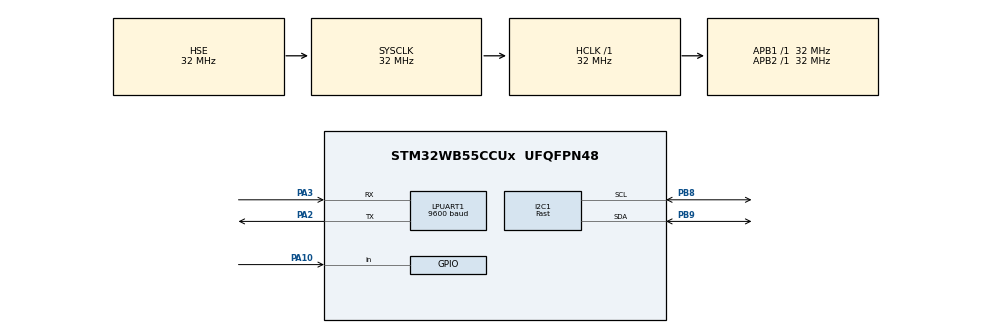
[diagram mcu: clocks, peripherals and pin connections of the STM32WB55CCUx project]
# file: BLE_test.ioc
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Dma.LPUART1_RX.0.Direction=DMA_PERIPH_TO_MEMORY
Dma.LPUART1_RX.0.EventEnable=DISABLE
Dma.LPUART1_RX.0.Instance=DMA1_Channel2
Dma.LPUART1_RX.0.MemDataAlignment=DMA_MDATAALIGN_BYTE
Dma.LPUART1_RX.0.MemInc=DMA_MINC_ENABLE
Dma.LPUART1_RX.0.Mode=DMA_CIRCULAR
Dma.LPUART1_RX.0.PeriphDataAlignment=DMA_PDATAALIGN_BYTE
Dma.LPUART1_RX.0.PeriphInc=DMA_PINC_DISABLE
Dma.LPUART1_RX.0.Polarity=HAL_DMAMUX_REQ_GEN_RISING
Dma.LPUART1_RX.0.Priority=DMA_PRIORITY_LOW
Dma.LPUART1_RX.0.RequestNumber=1
Dma.LPUART1_RX.0.SignalID=NONE
Dma.LPUART1_RX.0.SyncEnable=DISABLE
Dma.LPUART1_RX.0.SyncPolarity=HAL_DMAMUX_SYNC_NO_EVENT
Dma.LPUART1_RX.0.SyncRequestNumber=1
Dma.LPUART1_RX.0.SyncSignalID=NONE
Dma.Request0=LPUART1_RX
I2C1.I2C_Speed_Mode=I2C_Fast
I2C1.Timing=0x00300F38
LPUART1.BaudRate=9600
Mcu.Family=STM32WB
Mcu.Name=STM32WB55CCUx
Mcu.Package=UFQFPN48
NVIC.DMA1_Channel2_IRQn=true\:14\:0\:true\:false\:true\:false\:true\:true
NVIC.HSEM_IRQn=true\:0\:0\:false\:false\:true\:false\:true\:true
NVIC.IPCC_C1_RX_IRQn=true\:0\:0\:false\:false\:true\:true\:true\:true
NVIC.IPCC_C1_TX_IRQn=true\:0\:0\:false\:false\:true\:true\:true\:true
NVIC.PriorityGroup=NVIC_PRIORITYGROUP_4
NVIC.RTC_WKUP_IRQn=true\:0\:0\:false\:false\:true\:true\:true\:true
OSC_IN.Mode=HSE-External-Oscillator
OSC_IN.Signal=RCC_OSC_IN
OSC_OUT.Mode=HSE-External-Oscillator
OSC_OUT.Signal=RCC_OSC_OUT
PA10.Signal=GPIO_Input
PA13.Mode=Serial_Wire
PA13.Signal=SYS_JTMS-SWDIO
PA14.Mode=Serial_Wire
PA14.Signal=SYS_JTCK-SWCLK
PA2.Mode=Asynchronous
PA2.Signal=LPUART1_TX
PA3.Mode=Asynchronous
PA3.Signal=LPUART1_RX
PB8.Mode=I2C
PB8.Signal=I2C1_SCL
PB9.Mode=I2C
PB9.Signal=I2C1_SDA
PC14-OSC32_IN.Mode=LSE-External-Oscillator
PC14-OSC32_IN.Signal=RCC_OSC32_IN
PC15-OSC32_OUT.Mode=LSE-External-Oscillator
PC15-OSC32_OUT.Signal=RCC_OSC32_OUT
ProjectManager.HeapSize=0x200
ProjectManager.StackSize=0x400
ProjectManager.TargetToolchain=STM32CubeIDE
RCC.ADCFreq_Value=128000000
RCC.AHBFreq_Value=32000000
RCC.APB1Freq_Value=32000000
RCC.APB1TimFreq_Value=32000000
RCC.APB2Freq_Value=32000000
RCC.APB2TimFreq_Value=32000000
RCC.APB3Freq_Value=16000000
RCC.CortexFreq_Value=32000000
RCC.HCLKFreq_Value=32000000
RCC.HSE_VALUE=32000000
RCC.HSI48_VALUE=48000000
RCC.HSI_VALUE=16000000
RCC.MSIClockRange=RCC_MSIRANGE_10
RCC.RFWKPClockSelection=RCC_RFWKPCLKSOURCE_LSE
RCC.RTCClockSelection=RCC_RTCCLKSOURCE_LSE
RCC.SMPSCLockSelectionVirtual=RCC_SMPSCLKSOURCE_HSE
RCC.SMPSDivider=4
RCC.SYSCLKFreq_VALUE=32000000
RCC.SYSCLKSource=RCC_SYSCLKSOURCE_HSE
RCC.USBFreq_Value=128000000
RCC.VCOOutputFreq_Value=256000000
RF1.Mode=RF1_Activate
RF1.Signal=RF_RF1
STM32_WPAN.AD_SERVICE_CLASS_UUID_1=18 0D
STM32_WPAN.AD_SERVICE_CLASS_UUID_1_INV=[0D, 18]
STM32_WPAN.AD_TYPE_COMPLETE_LOCAL_NAME=STM32WB55
STM32_WPAN.AD_TYPE_COMPLETE_LOCAL_NAME_LENGTH=10
STM32_WPAN.CFG_BLE_MAX_TX_POWER=6
STM32_WPAN.CFG_BLE_MIN_TX_POWER=-40
STM32_WPAN.CFG_DEBUG_APP_TRACE=1
STM32_WPAN.CFG_DEBUG_BLE_TRACE=1
STM32_WPAN.CFG_DEBUG_TRACE_FULL=1
STM32_WPAN.CFG_DEBUG_TRACE_UART=hw_uart1
STM32_WPAN.CFG_GAP_DEVICE_NAME=Telemetry
STM32_WPAN.CFG_GAP_DEVICE_NAME_LENGTH=9
STM32_WPAN.CFG_HW_USART1_ENABLED=0
STM32_WPAN.CUSTOM_P2P_SERVER=Disabled
STM32_WPAN.CUSTOM_TEMPLATE=Enabled
STM32_WPAN.INCLUDE_AD_TYPE_16_BIT_SERV_UUID_CMPLT_LIST=1
STM32_WPAN.INCLUDE_AD_TYPE_COMPLETE_LOCAL_NAME=1
STM32_WPAN.INCLUDE_AD_TYPE_MANUFACTURER_SPECIFIC_DATA=1
STM32_WPAN.INCLUDE_AD_TYPE_TX_POWER_LEVEL=1
STM32_WPAN.NUMBER_OF_SERVICES=1
STM32_WPAN.PAIRING_PARAMETERS=ON
STM32_WPAN.SERVICE1_CHAR1_GATT_NOTIFY_READ_REQ_AND_WAIT_FOR_APPL_RESP=\ 
STM32_WPAN.SERVICE1_CHAR1_GATT_NOTIFY_WRITE_REQ_AND_WAIT_FOR_APPL_RESP=\ 
STM32_WPAN.SERVICE1_CHAR1_LENGTH_CHARACTERISTIC=CHAR_VALUE_LEN_CONSTANT
STM32_WPAN.SERVICE1_CHAR1_LONG_NAME=Pulse_Axel_GPS
STM32_WPAN.SERVICE1_CHAR1_PROP_NOTIFY=CHAR_PROP_NOTIFY
STM32_WPAN.SERVICE1_CHAR1_SHORT_NAME=PAG
STM32_WPAN.SERVICE1_CHAR1_UUID=FE 41
STM32_WPAN.SERVICE1_CHAR1_VALUE_LENGTH=86
STM32_WPAN.SERVICE1_LONG_NAME=Football_Player
STM32_WPAN.SERVICE1_SHORT_NAME=FP
STM32_WPAN.SERVICE1_UUID=FE 40
VP_HSEM_VS_HSEM.Mode=HSEM_Activate
VP_IPCC_VS_IPCC.Mode=IPCC_Activate
VP_RTC_VS_RTC_Activate.Mode=RTC_Enabled
VP_RTC_VS_RTC_WakeUp_intern.Mode=WakeUp
VP_SEQUENCER_VS_SEQUENCER.Mode=SEQUENCER_Enabled
VP_STM32_WPAN_VS_BLE_HOST.Mode=STM32_WPAN_Enabled
VP_TINY_LPM_VS_TINY_LPM.Mode=TINY_LPM_Enabled
board=custom

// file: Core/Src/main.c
/* USER CODE BEGIN Header */
/**
  ******************************************************************************
  * @file           : main.c
  * @brief          : Main program body
  ******************************************************************************
  * @attention
  *
  * Copyright (c) 2023 STMicroelectronics.
  * All rights reserved.
  *
  * This software is licensed under terms that can be found in the LICENSE file
  * in the root directory of this software component.
  * If no LICENSE file comes with this software, it is provided AS-IS.
  *
  ******************************************************************************
  */
/* USER CODE END Header */
#include "main.h"

I2C_HandleTypeDef hi2c1;

IPCC_HandleTypeDef hipcc;

UART_HandleTypeDef hlpuart1;
DMA_HandleTypeDef hdma_lpuart1_rx;

RTC_HandleTypeDef hrtc;

/* USER CODE BEGIN PV */

uint8_t Rxdata[750];
MPU9250_t mpu;

/* USER CODE END PV */

void SystemClock_Config(void);
void PeriphCommonClock_Config(void);
static void MX_GPIO_Init(void);
static void MX_DMA_Init(void);
static void MX_IPCC_Init(void);
static void MX_RTC_Init(void);
static void MX_I2C1_Init(void);
static void MX_LPUART1_UART_Init(void);
static void MX_RF_Init(void);
/* USER CODE BEGIN PFP */

void setMPUSettings(MPU9250_t * MPU0250);

/* USER CODE END PFP */

/* USER CODE BEGIN 0 */

void Max30102Setup()
{
  uint8_t uch_dummy;

  maxim_max30102_reset();
  maxim_max30102_read_reg(0x00, &uch_dummy);  // reads/clears the interrupt status register
  maxim_max30102_init();
}

/* USER CODE END 0 */

int main(void)
{

  /* MCU Configuration--------------------------------------------------------*/

  /* Reset of all peripherals, Initializes the Flash interface and the Systick. */
  HAL_Init();
  /* Config code for STM32_WPAN (HSE Tuning must be done before system clock configuration) */
  MX_APPE_Config();

  /* Configure the system clock */
  SystemClock_Config();

/* Configure the peripherals common clocks */
  PeriphCommonClock_Config();

  /* IPCC initialisation */
  MX_IPCC_Init();

  /* Initialize all configured peripherals */
  MX_GPIO_Init();
  MX_DMA_Init();
  MX_RTC_Init();
  MX_I2C1_Init();
  MX_LPUART1_UART_Init();
  MX_RF_Init();
  /* USER CODE BEGIN 2 */

  HAL_UART_Receive_DMA(&hlpuart1, (uint8_t*)Rxdata, 700);
  MPU9250SetDefault(&mpu);
  HAL_Delay(500);
  MPU9250_Init(&mpu);
  mpu.has_connected = 1;
  setMPUSettings(&mpu);
  HAL_Delay(100);
  Max30102Setup();

  /* USER CODE END 2 */

  /* Init code for STM32_WPAN */
  MX_APPE_Init();

  /* Infinite loop */
  while (1)
  {
    MX_APPE_Process();

  }
}

void SystemClock_Config(void)
{
  RCC_OscInitTypeDef RCC_OscInitStruct = {0};
  RCC_ClkInitTypeDef RCC_ClkInitStruct = {0};

  /** Configure LSE Drive Capability
  */
  HAL_PWR_EnableBkUpAccess();
  __HAL_RCC_LSEDRIVE_CONFIG(RCC_LSEDRIVE_MEDIUMHIGH);

  /** Configure the main internal regulator output voltage
  */
  __HAL_PWR_VOLTAGESCALING_CONFIG(PWR_REGULATOR_VOLTAGE_SCALE1);

  /** Initializes the RCC Oscillators according to the specified parameters
  * in the RCC_OscInitTypeDef structure.
  */
  RCC_OscInitStruct.OscillatorType = RCC_OSCILLATORTYPE_HSI|RCC_OSCILLATORTYPE_HSE
                              |RCC_OSCILLATORTYPE_LSE;
  RCC_OscInitStruct.HSEState = RCC_HSE_ON;
  RCC_OscInitStruct.LSEState = RCC_LSE_ON;
  RCC_OscInitStruct.HSIState = RCC_HSI_ON;
  RCC_OscInitStruct.HSICalibrationValue = RCC_HSICALIBRATION_DEFAULT;
  RCC_OscInitStruct.PLL.PLLState = RCC_PLL_NONE;
  if (HAL_RCC_OscConfig(&RCC_OscInitStruct) != HAL_OK)
  {
    Error_Handler();
  }

  /** Configure the SYSCLKSource, HCLK, PCLK1 and PCLK2 clocks dividers
  */
  RCC_ClkInitStruct.ClockType = RCC_CLOCKTYPE_HCLK4|RCC_CLOCKTYPE_HCLK2
                              |RCC_CLOCKTYPE_HCLK|RCC_CLOCKTYPE_SYSCLK
                              |RCC_CLOCKTYPE_PCLK1|RCC_CLOCKTYPE_PCLK2;
  RCC_ClkInitStruct.SYSCLKSource = RCC_SYSCLKSOURCE_HSE;
  RCC_ClkInitStruct.AHBCLKDivider = RCC_SYSCLK_DIV1;
  RCC_ClkInitStruct.APB1CLKDivider = RCC_HCLK_DIV1;
  RCC_ClkInitStruct.APB2CLKDivider = RCC_HCLK_DIV1;
  RCC_ClkInitStruct.AHBCLK2Divider = RCC_SYSCLK_DIV1;
  RCC_ClkInitStruct.AHBCLK4Divider = RCC_SYSCLK_DIV1;

  if (HAL_RCC_ClockConfig(&RCC_ClkInitStruct, FLASH_LATENCY_1) != HAL_OK)
  {
    Error_Handler();
  }
}

void PeriphCommonClock_Config(void)
{
  RCC_PeriphCLKInitTypeDef PeriphClkInitStruct = {0};

  /** Initializes the peripherals clock
  */
  PeriphClkInitStruct.PeriphClockSelection = RCC_PERIPHCLK_SMPS|RCC_PERIPHCLK_RFWAKEUP;
  PeriphClkInitStruct.RFWakeUpClockSelection = RCC_RFWKPCLKSOURCE_LSE;
  PeriphClkInitStruct.SmpsClockSelection = RCC_SMPSCLKSOURCE_HSE;
  PeriphClkInitStruct.SmpsDivSelection = RCC_SMPSCLKDIV_RANGE1;

  if (HAL_RCCEx_PeriphCLKConfig(&PeriphClkInitStruct) != HAL_OK)
  {
    Error_Handler();
  }
}

static void MX_I2C1_Init(void)
{

  hi2c1.Instance = I2C1;
  hi2c1.Init.Timing = 0x00300F38;
  hi2c1.Init.OwnAddress1 = 0;
  hi2c1.Init.AddressingMode = I2C_ADDRESSINGMODE_7BIT;
  hi2c1.Init.DualAddressMode = I2C_DUALADDRESS_DISABLE;
  hi2c1.Init.OwnAddress2 = 0;
  hi2c1.Init.OwnAddress2Masks = I2C_OA2_NOMASK;
  hi2c1.Init.GeneralCallMode = I2C_GENERALCALL_DISABLE;
  hi2c1.Init.NoStretchMode = I2C_NOSTRETCH_DISABLE;
  if (HAL_I2C_Init(&hi2c1) != HAL_OK)
  {
    Error_Handler();
  }

  /** Configure Analogue filter
  */
  if (HAL_I2CEx_ConfigAnalogFilter(&hi2c1, I2C_ANALOGFILTER_ENABLE) != HAL_OK)
  {
    Error_Handler();
  }

  /** Configure Digital filter
  */
  if (HAL_I2CEx_ConfigDigitalFilter(&hi2c1, 0) != HAL_OK)
  {
    Error_Handler();
  }

}

static void MX_IPCC_Init(void)
{

  hipcc.Instance = IPCC;
  if (HAL_IPCC_Init(&hipcc) != HAL_OK)
  {
    Error_Handler();
  }

}

static void MX_LPUART1_UART_Init(void)
{

  hlpuart1.Instance = LPUART1;
  hlpuart1.Init.BaudRate = 9600;
  hlpuart1.Init.WordLength = UART_WORDLENGTH_8B;
  hlpuart1.Init.StopBits = UART_STOPBITS_1;
  hlpuart1.Init.Parity = UART_PARITY_NONE;
  hlpuart1.Init.Mode = UART_MODE_TX_RX;
  hlpuart1.Init.HwFlowCtl = UART_HWCONTROL_NONE;
  hlpuart1.Init.OneBitSampling = UART_ONE_BIT_SAMPLE_DISABLE;
  hlpuart1.Init.ClockPrescaler = UART_PRESCALER_DIV1;
  hlpuart1.AdvancedInit.AdvFeatureInit = UART_ADVFEATURE_NO_INIT;
  hlpuart1.FifoMode = UART_FIFOMODE_DISABLE;
  if (HAL_UART_Init(&hlpuart1) != HAL_OK)
  {
    Error_Handler();
  }
  if (HAL_UARTEx_SetTxFifoThreshold(&hlpuart1, UART_TXFIFO_THRESHOLD_1_8) != HAL_OK)
  {
    Error_Handler();
  }
  if (HAL_UARTEx_SetRxFifoThreshold(&hlpuart1, UART_RXFIFO_THRESHOLD_1_8) != HAL_OK)
  {
    Error_Handler();
  }
  if (HAL_UARTEx_DisableFifoMode(&hlpuart1) != HAL_OK)
  {
    Error_Handler();
  }

}

static void MX_RF_Init(void)
{

}

static void MX_RTC_Init(void)
{

  /** Initialize RTC Only
  */
  hrtc.Instance = RTC;
  hrtc.Init.HourFormat = RTC_HOURFORMAT_24;
  hrtc.Init.AsynchPrediv = CFG_RTC_ASYNCH_PRESCALER;
  hrtc.Init.SynchPrediv = CFG_RTC_SYNCH_PRESCALER;
  hrtc.Init.OutPut = RTC_OUTPUT_DISABLE;
  hrtc.Init.OutPutPolarity = RTC_OUTPUT_POLARITY_HIGH;
  hrtc.Init.OutPutType = RTC_OUTPUT_TYPE_OPENDRAIN;
  hrtc.Init.OutPutRemap = RTC_OUTPUT_REMAP_NONE;
  if (HAL_RTC_Init(&hrtc) != HAL_OK)
  {
    Error_Handler();
  }

  /** Enable the WakeUp
  */
  if (HAL_RTCEx_SetWakeUpTimer_IT(&hrtc, 0, RTC_WAKEUPCLOCK_RTCCLK_DIV16) != HAL_OK)
  {
    Error_Handler();
  }

}

static void MX_DMA_Init(void)
{

  /* DMA controller clock enable */
  __HAL_RCC_DMAMUX1_CLK_ENABLE();
  __HAL_RCC_DMA1_CLK_ENABLE();

  /* DMA interrupt init */
  /* DMA1_Channel2_IRQn interrupt configuration */
  HAL_NVIC_SetPriority(DMA1_Channel2_IRQn, 14, 0);
  HAL_NVIC_EnableIRQ(DMA1_Channel2_IRQn);

}

static void MX_GPIO_Init(void)
{
  GPIO_InitTypeDef GPIO_InitStruct = {0};

  /* GPIO Ports Clock Enable */
  __HAL_RCC_GPIOC_CLK_ENABLE();
  __HAL_RCC_GPIOB_CLK_ENABLE();
  __HAL_RCC_GPIOA_CLK_ENABLE();

  /*Configure GPIO pin : PA10 */
  GPIO_InitStruct.Pin = GPIO_PIN_10;
  GPIO_InitStruct.Mode = GPIO_MODE_INPUT;
  GPIO_InitStruct.Pull = GPIO_NOPULL;
  HAL_GPIO_Init(GPIOA, &GPIO_InitStruct);

}

/* USER CODE BEGIN 4 */

void setMPUSettings(MPU9250_t * MPU0250){
	//accel bias [g]:  11.1511   0.0000   0.0000  ␊
	  //gyro bias [deg/s]:  0.0000   0.6698   0.0000  ␊
	  //mag bias [mG]:  19.1250   143.4375   0.0000  ␊
	  //mag scale []:  1.3571   0.9382   0.8351
	setAccBias(MPU0250, 11.1511, 0.0, 0.00);
	setGyroBias(MPU0250, 0.0, 0.6698, 0.0);
	setMagBias(MPU0250, 19.125, 143.4375, 0.0000);
	setMagScale(MPU0250, 1.3571, 0.9382, 0.8351);
	/*setAccBias(MPU0250, 280.60, 163.00, 264.40);
	setGyroBias(MPU0250, 12.63, -72.50, -73.97);
	setMagBias(MPU0250, 75.03, 296.37, -636.671);
	setMagScale(MPU0250, 1.11, 1.03, 0.890);*/

	setMagneticDeclination(MPU0250, 10.91);
}

/* USER CODE END 4 */

void Error_Handler(void)
{
  __disable_irq();
  while (1)
  {
  }
}
